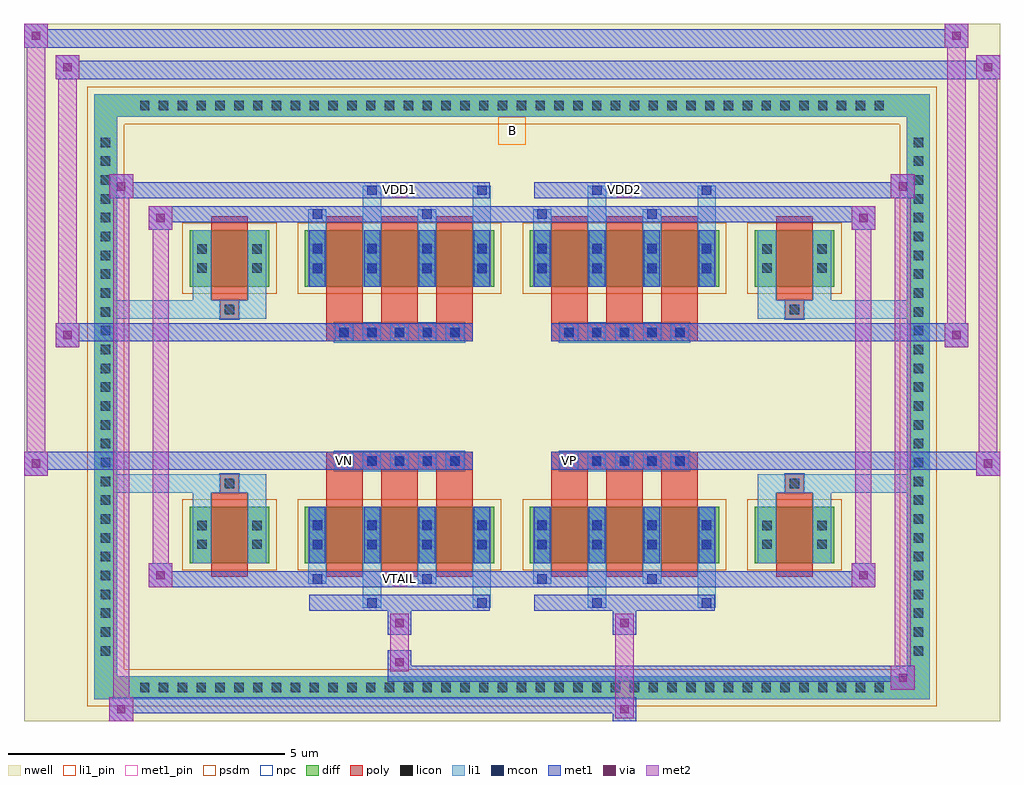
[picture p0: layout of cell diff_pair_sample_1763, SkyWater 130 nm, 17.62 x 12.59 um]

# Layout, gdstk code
import gdstk
lib = gdstk.Library(unit=1e-6, precision=5e-09)
def R(c, l, rs):  # rectangles x0, y0, x1, y1
    for r in rs: c.add(gdstk.rectangle(r[:2], r[2:], *l))
def A(c, l, x, y, w, h, nx, ny, dx, dy):  # array of equal rectangles
    R(c, l, [(x+i*dx, y+j*dy, x+i*dx+w, y+j*dy+h) for i in range(nx) for j in range(ny)])
def P(c, l, *ps):  # polygons
    for p in ps: c.add(gdstk.Polygon(p, *l))
nwell = (64, 20)
diff = (65, 20)
poly = (66, 20)
licon = (66, 44)
li1_pin = (67, 16)
li1 = (67, 20)
mcon = (67, 44)
met1_pin = (68, 16)
met1 = (68, 20)
via = (68, 44)
met2 = (69, 20)
psdm = (94, 20)
npc = (95, 20)

diff_pair_sample_1763 = lib.new_cell('diff_pair_sample_1763')
R(diff_pair_sample_1763, nwell, [(-8.81,-5.86,8.81,6.73), (-6.13,-4.05,-0.01,-0.795), (0.01,-4.05,6.13,-0.795), (-6.13,0.795,-0.01,4.05), (0.01,0.795,6.13,4.05)])
A(diff_pair_sample_1763, diff, -6.835, -5.46, 0.41, 0.41, 40, 2, 0.34, 10.51)
A(diff_pair_sample_1763, diff, -7.54, -4.795, 0.41, 0.41, 1, 28, 0, 0.34)
A(diff_pair_sample_1763, diff, 7.13, -4.795, 0.41, 0.41, 1, 28, 0, 0.34)
R(diff_pair_sample_1763, diff, [(-6.835,-5.46,6.835,-5.05), (-7.54,-4.795,-7.13,4.795), (7.13,-4.795,7.54,4.795), (-5.82,-3.005,-4.38,-1.985), (-3.74,-3.005,-0.32,-1.985), (0.32,-3.005,3.74,-1.985), (4.38,-3.005,5.82,-1.985), (-5.82,1.985,-4.38,3.005), (-3.74,1.985,-0.32,3.005), (0.32,1.985,3.74,3.005), (4.38,1.985,5.82,3.005), (-6.835,5.05,6.835,5.46)])
P(diff_pair_sample_1763, diff, [(7.54,5.46),(-7.54,5.46),(-7.54,-5.05),(-7.13,-5.05),(-7.13,5.05),(7.13,5.05),(7.13,-5.05),(-7.13,-5.05),(-7.54,-5.05),(-7.54,-5.46),(7.54,-5.46)])
A(diff_pair_sample_1763, poly, -3.35, -3.255, 0.66, 1.52, 3, 2, 0.99, 4.99)
A(diff_pair_sample_1763, poly, 0.71, -3.255, 0.66, 1.52, 3, 2, 0.99, 4.99)
A(diff_pair_sample_1763, poly, -3.35, -1.735, 0.66, 0.41, 3, 2, 0.99, 3.06)
A(diff_pair_sample_1763, poly, 0.71, -1.735, 0.66, 0.41, 3, 2, 0.99, 3.06)
A(diff_pair_sample_1763, poly, -3.195, -1.325, 0.33, 0.33, 5, 2, 0.5, 2.32)
A(diff_pair_sample_1763, poly, 0.865, -1.325, 0.33, 0.33, 5, 2, 0.5, 2.32)
R(diff_pair_sample_1763, poly, [(-5.43,-3.255,-4.77,-1.735), (4.77,-3.255,5.43,-1.735), (-5.265,-1.735,-4.935,-1.405), (-5.265,-1.735,-4.935,-1.405), (4.935,-1.735,5.265,-1.405), (4.935,-1.735,5.265,-1.405), (-3.35,-1.325,-0.71,-0.995), (0.71,-1.325,3.35,-0.995), (-3.35,0.995,-0.71,1.325), (0.71,0.995,3.35,1.325), (-5.265,1.405,-4.935,1.735), (-5.265,1.405,-4.935,1.735), (4.935,1.405,5.265,1.735), (4.935,1.405,5.265,1.735), (-5.43,1.735,-4.77,3.255), (4.77,1.735,5.43,3.255)])
A(diff_pair_sample_1763, licon, -6.715, -5.34, 0.17, 0.17, 40, 2, 0.34, 10.51)
A(diff_pair_sample_1763, licon, -7.42, -4.675, 0.17, 0.17, 1, 28, 0, 0.34)
A(diff_pair_sample_1763, licon, 7.25, -4.675, 0.17, 0.17, 1, 28, 0, 0.34)
A(diff_pair_sample_1763, licon, -3.6, -2.75, 0.17, 0.17, 4, 2, 0.99, 0.34)
A(diff_pair_sample_1763, licon, 0.46, -2.75, 0.17, 0.17, 4, 2, 0.99, 0.34)
A(diff_pair_sample_1763, licon, -3.115, -1.245, 0.17, 0.17, 5, 2, 0.5, 2.32)
A(diff_pair_sample_1763, licon, 0.945, -1.245, 0.17, 0.17, 5, 2, 0.5, 2.32)
A(diff_pair_sample_1763, licon, -3.6, 2.24, 0.17, 0.17, 4, 2, 0.99, 0.34)
A(diff_pair_sample_1763, licon, 0.46, 2.24, 0.17, 0.17, 4, 2, 0.99, 0.34)
R(diff_pair_sample_1763, licon, [(-5.68,-2.75,-5.51,-2.58), (-4.69,-2.75,-4.52,-2.58), (4.52,-2.75,4.69,-2.58), (5.51,-2.75,5.68,-2.58), (-5.68,-2.41,-5.51,-2.24), (-4.69,-2.41,-4.52,-2.24), (4.52,-2.41,4.69,-2.24), (5.51,-2.41,5.68,-2.24), (-5.185,-1.655,-5.015,-1.485), (5.015,-1.655,5.185,-1.485), (-5.185,1.485,-5.015,1.655), (5.015,1.485,5.185,1.655), (-5.68,2.24,-5.51,2.41), (-4.69,2.24,-4.52,2.41), (4.52,2.24,4.69,2.41), (5.51,2.24,5.68,2.41), (-5.68,2.58,-5.51,2.75), (-4.69,2.58,-4.52,2.75), (4.52,2.58,4.69,2.75), (5.51,2.58,5.68,2.75)])
R(diff_pair_sample_1763, li1_pin, [(-0.25,4.55,0.25,5.05)])
A(diff_pair_sample_1763, li1, -6.795, -5.42, 0.33, 0.33, 40, 2, 0.34, 10.51)
A(diff_pair_sample_1763, li1, -7.5, -4.755, 0.33, 0.33, 1, 28, 0, 0.34)
A(diff_pair_sample_1763, li1, 7.17, -4.755, 0.33, 0.33, 1, 28, 0, 0.34)
A(diff_pair_sample_1763, li1, -3.68, -3.005, 0.33, 1.02, 4, 2, 0.99, 4.99)
A(diff_pair_sample_1763, li1, 0.38, -3.005, 0.33, 1.02, 4, 2, 0.99, 4.99)
A(diff_pair_sample_1763, li1, -3.68, -2.83, 0.33, 0.33, 4, 2, 0.99, 0.34)
A(diff_pair_sample_1763, li1, 0.38, -2.83, 0.33, 0.33, 4, 2, 0.99, 0.34)
A(diff_pair_sample_1763, li1, -3.6, -2.76, 0.17, 0.17, 4, 2, 0.99, 0.36)
A(diff_pair_sample_1763, li1, -3.6, -2.76, 0.17, 0.53, 4, 2, 0.99, 4.99)
A(diff_pair_sample_1763, li1, 0.46, -2.76, 0.17, 0.17, 4, 2, 0.99, 0.36)
A(diff_pair_sample_1763, li1, 0.46, -2.76, 0.17, 0.53, 4, 2, 0.99, 4.99)
A(diff_pair_sample_1763, li1, -3.195, -1.325, 0.33, 0.33, 5, 2, 0.5, 2.32)
A(diff_pair_sample_1763, li1, 0.865, -1.325, 0.33, 0.33, 5, 2, 0.5, 2.32)
A(diff_pair_sample_1763, li1, -3.68, 2.16, 0.33, 0.33, 4, 2, 0.99, 0.34)
A(diff_pair_sample_1763, li1, 0.38, 2.16, 0.33, 0.33, 4, 2, 0.99, 0.34)
A(diff_pair_sample_1763, li1, -3.6, 2.23, 0.17, 0.17, 4, 2, 0.99, 0.36)
A(diff_pair_sample_1763, li1, 0.46, 2.23, 0.17, 0.17, 4, 2, 0.99, 0.36)
R(diff_pair_sample_1763, li1, [(-7.54,-5.46,-7.13,-5.05), (-7.54,-5.46,-7.13,-5.05), (-7.13,-5.46,7.13,-5.05), (7.13,-5.46,7.54,-5.05), (7.13,-5.46,7.54,-5.05), (-7.54,-5.05,-7.13,5.05), (7.13,-5.05,7.54,5.05), (-2.69,-3.81,-2.36,-3.005), (-2.61,-3.81,-2.44,-3.64), (-0.71,-3.81,-0.38,-3.005), (-0.63,-3.81,-0.46,-3.64), (1.37,-3.81,1.7,-3.005), (1.45,-3.81,1.62,-3.64), (3.35,-3.81,3.68,-3.005), (3.43,-3.81,3.6,-3.64), (-3.68,-3.38,-3.35,-3.005), (-3.6,-3.38,-3.43,-3.21), (-1.7,-3.38,-1.37,-3.005), (-1.62,-3.38,-1.45,-3.21), (0.38,-3.38,0.71,-3.005), (0.46,-3.38,0.63,-3.21), (2.36,-3.38,2.69,-3.005), (2.44,-3.38,2.61,-3.21), (-5.76,-3.005,-5.43,-1.985), (-4.77,-3.005,-4.44,-1.985), (4.44,-3.005,4.77,-1.985), (5.43,-3.005,5.76,-1.985), (-5.76,-2.83,-5.43,-2.5), (-4.77,-2.83,-4.44,-2.5), (4.44,-2.83,4.77,-2.5), (5.43,-2.83,5.76,-2.5), (-5.76,-2.49,-5.43,-2.16), (-4.77,-2.49,-4.44,-2.16), (4.44,-2.49,4.77,-2.16), (5.43,-2.49,5.76,-2.16), (-5.76,-1.985,-5.43,-1.405), (-4.77,-1.985,-4.44,-1.405), (4.44,-1.985,4.77,-1.405), (5.43,-1.985,5.76,-1.405), (-7.54,-1.735,-5.265,-1.405), (-5.76,-1.735,-5.265,-1.405), (-5.265,-1.735,-4.935,-1.405), (-4.935,-1.735,-4.44,-1.405), (4.44,-1.735,4.935,-1.405), (4.935,-1.735,5.265,-1.405), (4.935,-1.735,7.54,-1.405), (5.265,-1.735,5.76,-1.405), (-7.54,1.405,-5.265,1.735), (-5.76,1.405,-5.265,1.735), (-5.76,1.405,-5.43,1.985), (-5.265,1.405,-4.935,1.735), (-4.935,1.405,-4.44,1.735), (-4.77,1.405,-4.44,1.985), (4.44,1.405,4.935,1.735), (4.44,1.405,4.77,1.985), (4.935,1.405,5.265,1.735), (4.935,1.405,7.54,1.735), (5.265,1.405,5.76,1.735), (5.43,1.405,5.76,1.985), (-5.76,1.985,-5.43,3.005), (-4.77,1.985,-4.44,3.005), (4.44,1.985,4.77,3.005), (5.43,1.985,5.76,3.005), (-5.76,2.16,-5.43,2.49), (-4.77,2.16,-4.44,2.49), (4.44,2.16,4.77,2.49), (5.43,2.16,5.76,2.49), (-5.76,2.5,-5.43,2.83), (-4.77,2.5,-4.44,2.83), (4.44,2.5,4.77,2.83), (5.43,2.5,5.76,2.83), (-3.68,3.005,-3.35,3.38), (-2.69,3.005,-2.36,3.81), (-1.7,3.005,-1.37,3.38), (-0.71,3.005,-0.38,3.81), (0.38,3.005,0.71,3.38), (1.37,3.005,1.7,3.81), (2.36,3.005,2.69,3.38), (3.35,3.005,3.68,3.81), (-3.6,3.21,-3.43,3.38), (-1.62,3.21,-1.45,3.38), (0.46,3.21,0.63,3.38), (2.44,3.21,2.61,3.38), (-2.61,3.64,-2.44,3.81), (-0.63,3.64,-0.46,3.81), (1.45,3.64,1.62,3.81), (3.43,3.64,3.6,3.81), (-7.54,5.05,-7.13,5.46), (-7.54,5.05,-7.13,5.46), (-7.13,5.05,7.13,5.46), (7.13,5.05,7.54,5.46), (7.13,5.05,7.54,5.46)])
A(diff_pair_sample_1763, mcon, -3.6, -2.76, 0.17, 0.17, 4, 2, 0.99, 0.36)
A(diff_pair_sample_1763, mcon, 0.46, -2.76, 0.17, 0.17, 4, 2, 0.99, 0.36)
A(diff_pair_sample_1763, mcon, -3.115, -1.245, 0.17, 0.17, 5, 2, 0.5, 2.32)
A(diff_pair_sample_1763, mcon, 0.945, -1.245, 0.17, 0.17, 5, 2, 0.5, 2.32)
A(diff_pair_sample_1763, mcon, -3.6, 2.23, 0.17, 0.17, 4, 2, 0.99, 0.36)
A(diff_pair_sample_1763, mcon, 0.46, 2.23, 0.17, 0.17, 4, 2, 0.99, 0.36)
R(diff_pair_sample_1763, mcon, [(-2.61,-3.81,-2.44,-3.64), (-0.63,-3.81,-0.46,-3.64), (1.45,-3.81,1.62,-3.64), (3.43,-3.81,3.6,-3.64), (-3.6,-3.38,-3.43,-3.21), (-1.62,-3.38,-1.45,-3.21), (0.46,-3.38,0.63,-3.21), (2.44,-3.38,2.61,-3.21), (-3.6,3.21,-3.43,3.38), (-1.62,3.21,-1.45,3.38), (0.46,3.21,0.63,3.38), (2.44,3.21,2.61,3.38), (-2.61,3.64,-2.44,3.81), (-0.63,3.64,-0.46,3.81), (1.45,3.64,1.62,3.81), (3.43,3.64,3.6,3.81)])
R(diff_pair_sample_1763, met1_pin, [(-2.165,-3.42,-1.895,-3.15), (-3.165,-1.285,-2.895,-1.015), (0.895,-1.285,1.165,-1.015), (-2.165,3.6,-1.895,3.87), (1.895,3.6,2.165,3.87)])
A(diff_pair_sample_1763, met1, -3.66, -3.005, 0.29, 1.02, 4, 2, 0.99, 4.99)
A(diff_pair_sample_1763, met1, 0.4, -3.005, 0.29, 1.02, 4, 2, 0.99, 4.99)
A(diff_pair_sample_1763, met1, -3.66, -2.82, 0.29, 0.29, 4, 2, 0.99, 0.36)
A(diff_pair_sample_1763, met1, 0.4, -2.82, 0.29, 0.29, 4, 2, 0.99, 0.36)
A(diff_pair_sample_1763, met1, -3.175, -1.305, 0.29, 0.29, 5, 2, 0.5, 2.32)
A(diff_pair_sample_1763, met1, 0.885, -1.305, 0.29, 0.29, 5, 2, 0.5, 2.32)
A(diff_pair_sample_1763, met1, -3.66, 2.17, 0.29, 0.29, 4, 2, 0.99, 0.36)
A(diff_pair_sample_1763, met1, 0.4, 2.17, 0.29, 0.29, 4, 2, 0.99, 0.36)
R(diff_pair_sample_1763, met1, [(-7.27,-5.86,-6.84,-5.43), (1.815,-5.86,2.245,-5.43), (-7.27,-5.72,2.245,-5.43), (6.84,-5.29,7.27,-4.86), (-2.245,-5.15,7.27,-4.86), (-2.245,-5.01,-1.815,-4.58), (-2.245,-4.3,-1.815,-3.87), (1.815,-4.3,2.245,-3.87), (-3.66,-3.87,-0.4,-3.58), (-2.67,-3.87,-2.38,-3.58), (-0.69,-3.87,-0.4,-3.58), (0.4,-3.87,3.66,-3.58), (1.39,-3.87,1.68,-3.58), (3.37,-3.87,3.66,-3.58), (-6.56,-3.44,-6.13,-3.01), (-6.56,-3.44,-3.66,-3.15), (-3.66,-3.44,-3.37,-3.15), (-3.66,-3.44,-0.4,-3.15), (-1.68,-3.44,-1.39,-3.15), (-0.4,-3.44,0.4,-3.15), (0.4,-3.44,0.69,-3.15), (0.4,-3.44,3.66,-3.15), (2.38,-3.44,2.67,-3.15), (3.66,-3.44,6.56,-3.15), (6.13,-3.44,6.56,-3.01), (-8.81,-1.425,-8.38,-0.995), (8.38,-1.425,8.81,-0.995), (-8.81,-1.325,-0.71,-0.995), (-3.35,-1.325,-0.71,-0.995), (0.71,-1.325,3.35,-0.995), (0.71,-1.325,8.81,-0.995), (-8.24,0.895,-7.81,1.325), (7.81,0.895,8.24,1.325), (-8.24,0.995,-3.35,1.325), (-3.35,0.995,-0.71,1.325), (0.71,0.995,3.35,1.325), (3.35,0.995,8.24,1.325), (-6.56,3.01,-6.13,3.44), (6.13,3.01,6.56,3.44), (-6.56,3.15,-3.66,3.44), (-3.66,3.15,-3.37,3.44), (-3.66,3.15,-0.4,3.44), (-1.68,3.15,-1.39,3.44), (-0.4,3.15,0.4,3.44), (0.4,3.15,0.69,3.44), (0.4,3.15,3.66,3.44), (2.38,3.15,2.67,3.44), (3.66,3.15,6.56,3.44), (-7.27,3.58,-6.84,4.01), (-7.27,3.58,-3.66,3.87), (-3.66,3.58,-0.4,3.87), (-2.67,3.58,-2.38,3.87), (-0.69,3.58,-0.4,3.87), (0.4,3.58,3.66,3.87), (1.39,3.58,1.68,3.87), (3.37,3.58,3.66,3.87), (3.66,3.58,7.27,3.87), (6.84,3.58,7.27,4.01), (-8.24,5.73,-7.81,6.16), (-8.24,5.73,-6.13,6.06), (-6.13,5.73,6.13,6.06), (6.13,5.73,8.81,6.06), (8.38,5.73,8.81,6.16), (-8.81,6.3,-8.38,6.73), (-8.81,6.3,-6.13,6.63), (-6.13,6.3,6.13,6.63), (6.13,6.3,8.24,6.63), (7.81,6.3,8.24,6.73)])
R(diff_pair_sample_1763, via, [(-7.13,-5.72,-6.98,-5.57), (1.955,-5.72,2.105,-5.57), (6.98,-5.15,7.13,-5), (-2.105,-4.87,-1.955,-4.72), (-2.105,-4.16,-1.955,-4.01), (1.955,-4.16,2.105,-4.01), (-6.42,-3.3,-6.27,-3.15), (6.27,-3.3,6.42,-3.15), (-8.67,-1.285,-8.52,-1.135), (8.52,-1.285,8.67,-1.135), (-8.1,1.035,-7.95,1.185), (7.95,1.035,8.1,1.185), (-6.42,3.15,-6.27,3.3), (6.27,3.15,6.42,3.3), (-7.13,3.72,-6.98,3.87), (6.98,3.72,7.13,3.87), (-8.1,5.87,-7.95,6.02), (8.52,5.87,8.67,6.02), (-8.67,6.44,-8.52,6.59), (7.95,6.44,8.1,6.59)])
R(diff_pair_sample_1763, met2, [(-7.27,-5.86,-6.84,-5.43), (-7.2,-5.86,-6.91,4.01), (-6.91,-5.86,-6.84,-5.43), (-7.22,-5.81,-6.89,-5.48), (1.865,-5.81,2.195,-5.48), (1.865,-5.48,2.195,-4.25), (6.84,-5.29,7.27,-4.86), (6.91,-5.29,7.2,4.01), (7.2,-5.29,7.27,-4.86), (6.89,-5.24,7.22,-4.91), (-2.195,-4.96,-1.865,-4.63), (-2.195,-4.63,-1.865,-4.25), (-2.195,-4.25,-1.865,-3.92), (1.865,-4.25,2.195,-3.92), (-6.56,-3.44,-6.13,-3.01), (-6.49,-3.44,-6.2,3.44), (-6.2,-3.44,-6.13,-3.01), (6.13,-3.44,6.56,-3.01), (6.2,-3.44,6.49,3.44), (6.49,-3.44,6.56,-3.01), (-6.51,-3.39,-6.18,-3.06), (6.18,-3.39,6.51,-3.06), (-8.81,-1.425,-8.38,-0.995), (-8.76,-1.425,-8.43,6.73), (-8.43,-1.425,-8.38,-0.995), (8.38,-1.425,8.81,-0.995), (8.43,-1.425,8.76,6.16), (8.76,-1.425,8.81,-0.995), (-8.76,-1.375,-8.43,-1.045), (8.43,-1.375,8.76,-1.045), (-8.24,0.895,-7.81,1.325), (-8.19,0.895,-7.86,6.16), (-7.86,0.895,-7.81,1.325), (7.81,0.895,8.24,1.325), (7.86,0.895,8.19,6.73), (8.19,0.895,8.24,1.325), (-8.19,0.945,-7.86,1.275), (7.86,0.945,8.19,1.275), (-6.56,3.01,-6.13,3.44), (-6.2,3.01,-6.13,3.44), (6.13,3.01,6.56,3.44), (6.49,3.01,6.56,3.44), (-6.51,3.06,-6.18,3.39), (6.18,3.06,6.51,3.39), (-7.27,3.58,-6.84,4.01), (-6.91,3.58,-6.84,4.01), (6.84,3.58,7.27,4.01), (7.2,3.58,7.27,4.01), (-7.22,3.63,-6.89,3.96), (6.89,3.63,7.22,3.96), (-8.24,5.73,-7.81,6.16), (-7.86,5.73,-7.81,6.16), (8.38,5.73,8.81,6.16), (8.76,5.73,8.81,6.16), (-8.19,5.78,-7.86,6.11), (8.43,5.78,8.76,6.11), (-8.81,6.3,-8.38,6.73), (-8.43,6.3,-8.38,6.73), (7.81,6.3,8.24,6.73), (8.19,6.3,8.24,6.73), (-8.76,6.35,-8.43,6.68), (7.86,6.35,8.19,6.68)])
R(diff_pair_sample_1763, psdm, [(-5.95,-3.135,-4.25,-1.855), (-3.87,-3.135,-0.19,-1.855), (0.19,-3.135,3.87,-1.855), (4.25,-3.135,5.95,-1.855), (-5.95,1.855,-4.25,3.135), (-3.87,1.855,-0.19,3.135), (0.19,1.855,3.87,3.135), (4.25,1.855,5.95,3.135)])
P(diff_pair_sample_1763, psdm, [(7.67,5.59),(-7.67,5.59),(-7.67,-4.92),(-7,-4.92),(-7,4.92),(7,4.92),(7,-4.92),(-7,-4.92),(-7.67,-4.92),(-7.67,-5.59),(7.67,-5.59)])
A(diff_pair_sample_1763, npc, -3.215, -1.345, 0.37, 0.37, 5, 2, 0.5, 2.32)
A(diff_pair_sample_1763, npc, 0.845, -1.345, 0.37, 0.37, 5, 2, 0.5, 2.32)
R(diff_pair_sample_1763, npc, [(-5.285,-1.755,-4.915,-1.385), (4.915,-1.755,5.285,-1.385), (-3.215,-1.345,-2.345,-0.975), (-3.215,-1.345,-2.345,-0.975), (-2.715,-1.345,-1.845,-0.975), (-2.715,-1.345,-1.845,-0.975), (-2.215,-1.345,-1.345,-0.975), (-2.215,-1.345,-1.345,-0.975), (-1.715,-1.345,-0.845,-0.975), (-1.715,-1.345,-0.845,-0.975), (0.845,-1.345,1.715,-0.975), (0.845,-1.345,1.715,-0.975), (1.345,-1.345,2.215,-0.975), (1.345,-1.345,2.215,-0.975), (1.845,-1.345,2.715,-0.975), (1.845,-1.345,2.715,-0.975), (2.345,-1.345,3.215,-0.975), (2.345,-1.345,3.215,-0.975), (-3.215,0.975,-2.345,1.345), (-3.215,0.975,-2.345,1.345), (-2.715,0.975,-1.845,1.345), (-2.715,0.975,-1.845,1.345), (-2.215,0.975,-1.345,1.345), (-2.215,0.975,-1.345,1.345), (-1.715,0.975,-0.845,1.345), (-1.715,0.975,-0.845,1.345), (0.845,0.975,1.715,1.345), (0.845,0.975,1.715,1.345), (1.345,0.975,2.215,1.345), (1.345,0.975,2.215,1.345), (1.845,0.975,2.715,1.345), (1.845,0.975,2.715,1.345), (2.345,0.975,3.215,1.345), (2.345,0.975,3.215,1.345), (-5.285,1.385,-4.915,1.755), (4.915,1.385,5.285,1.755)])
diff_pair_sample_1763.add(gdstk.Label('VTAIL', (-2.03,-3.285), layer=68, texttype=5))
diff_pair_sample_1763.add(gdstk.Label('VN', (-3.03,-1.15), layer=68, texttype=5))
diff_pair_sample_1763.add(gdstk.Label('VP', (1.03,-1.15), layer=68, texttype=5))
diff_pair_sample_1763.add(gdstk.Label('B', (0,4.8), layer=67, texttype=5))
diff_pair_sample_1763.add(gdstk.Label('VDD2', (2.03,3.735), layer=68, texttype=5))
diff_pair_sample_1763.add(gdstk.Label('VDD1', (-2.03,3.735), layer=68, texttype=5))

lib.write_gds('diff_pair_sample_1763.gds')
